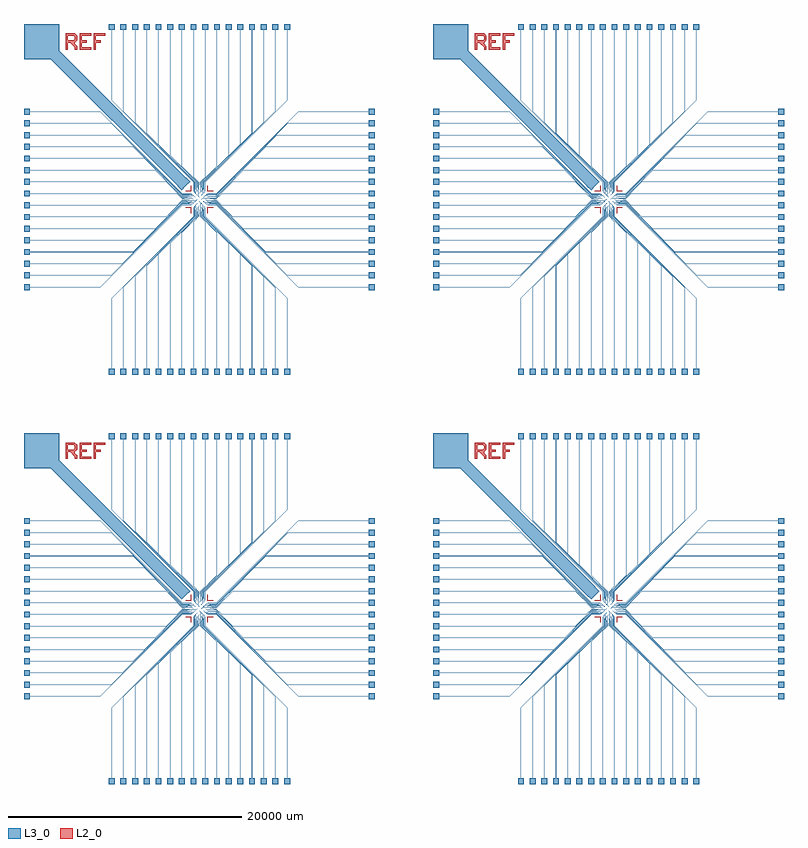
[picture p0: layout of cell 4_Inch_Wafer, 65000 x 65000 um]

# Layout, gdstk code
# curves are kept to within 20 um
from math import pi, radians
import gdstk
lib = gdstk.Library(unit=1e-6, precision=1e-09)
def P(c, l, *ps):  # polygons
    for p in ps: c.add(gdstk.Polygon(p, *l))
L2_0 = (2, 0)
L3_0 = (3, 0)

ref_marker = lib.new_cell('Ref_Marker')
P(ref_marker, L2_0, [(-95,-50),(-95,-40),(-5,-40),(-5,50),(5,50),(5,-50)])

c_64_electrode_device = lib.new_cell('64_Electrode_Device')
P(c_64_electrode_device, L2_0, [(-11450,12800),(-11450,14200),(-10650,14200),(-10450,14000),(-11250,14000),(-11250,13600),(-10750,13600),(-10650,13700),(-10650,13900),(-10750,14000),(-10450,14000),(-10450,13600),(-10650,13400),(-10650,13300),(-10450,13100),(-10450,12800),(-10650,12800),(-10650,13000),(-11050,13400),(-11250,13400),(-11250,12800)],
  [(-10250,12800),(-10250,14200),(-9250,14200),(-9250,14000),(-10050,14000),(-10050,13600),(-9650,13600),(-9650,13400),(-10050,13400),(-10050,13000),(-9250,13000),(-9250,12800)],
  [(-9050,12800),(-9050,14200),(-8050,14200),(-8050,14000),(-8850,14000),(-8850,13600),(-8450,13600),(-8450,13400),(-8850,13400),(-8850,12800)])
P(c_64_electrode_device, L3_0, [(-750,-15000),(-750,-14500),(-503,-14500),(-503,-1905),(-48,-1448.758),(-48,-1282),(0.243,-1232.218),(4.48,-1235.048),(3.672,-1240.495),(-42,-1283.242),(-42.879,-1452.121),(-497,-1906.242),(-497,-14500),(-250,-14500),(-250,-15000)],
  [(-2750,-15000),(-2750,-14500),(-2503,-14500),(-2503,-3770),(-180,-1445.758),(-181.727,-1060.147),(-176.05,-1055.488),(-171.827,-1060.147),(-174,-1451),(-2497,-3771.242),(-2497,-14500),(-2250,-14500),(-2250,-15000)],
  [(2250,-15000),(2250,-14500),(2497,-14500),(2497,-3772.242),(174,-1451),(171.826,-1060.147),(176.049,-1055.488),(181.726,-1060.147),(180,-1446.758),(2503,-3771),(2503,-14500),(2750,-14500),(2750,-15000)],
  [(-5750,-15000),(-5750,-14500),(-5503,-14500),(-5503,-6594),(-357,-1446.758),(-358.504,-883.37),(-351.885,-878.947),(-348.604,-883.37),(-351,-887.859),(-351,-1451),(-5497,-6595.242),(-5497,-14500),(-5250,-14500),(-5250,-15000)],
  [(250,-15000),(250,-14500),(497,-14500),(497,-1907.242),(42.879,-1453.121),(42,-930.242),(-3.981,-886.565),(-4.48,-881.494),(-0.243,-878.663),(48,-926),(48,-1449.758),(503,-1903),(503,-14500),(750,-14500),(750,-15000)],
  [(5250,-15000),(5250,-14500),(5497,-14500),(5497,-6596.242),(351,-1451),(351,-887.86),(348.603,-883.37),(351.884,-878.947),(358.503,-883.37),(357,-1447.758),(5503,-6593),(5503,-14500),(5750,-14500),(5750,-15000)],
  [(-7750,-15000),(-7750,-14500),(-7503,-14500),(-7502,-8461),(-488,-1447.758),(-488,-753.242),(-534.31,-709.789),(-534.002,-703.509),(-528.211,-702.357),(-482,-752),(-483,-1452),(-7497,-8465.242),(-7497,-14500),(-7250,-14500),(-7250,-15000)],
  [(-3750,-15000),(-3750,-14500),(-3503,-14500),(-3503,-4709),(-243,-1447.758),(-243,-770),(-180.449,-703.509),(-175.573,-702.03),(-172.111,-705.168),(-173.105,-710.165),(-237,-771.242),(-238,-1452),(-3497,-4710.242),(-3497,-14500),(-3250,-14500),(-3250,-15000)],
  [(3250,-15000),(3250,-14500),(3497,-14500),(3497,-4711.242),(237.879,-1452.121),(237,-771.242),(173.104,-710.165),(172.11,-705.168),(175.572,-702.03),(180.448,-703.509),(243,-770),(243,-1448.758),(3503,-4710),(3503,-14500),(3750,-14500),(3750,-15000)],
  [(7250,-15000),(7250,-14500),(7497,-14500),(7497,-8466.242),(482.879,-1452.121),(482,-752),(528.211,-702.357),(534.002,-703.509),(534.31,-709.789),(488,-753.242),(488,-1448.758),(7502,-8462),(7503,-14500),(7750,-14500),(7750,-15000)],
  [(-6750,-15000),(-6750,-14500),(-6503,-14500),(-6502.121,-7531.879),(-418,-1447.758),(-418,-592),(-356.882,-526.388),(-351.435,-525.58),(-348.652,-529.333),(-349.882,-533.388),(-354.61,-534.897),(-412,-593.228),(-413,-1452),(-6497,-7535.242),(-6497,-14500),(-6250,-14500),(-6250,-15000)],
  [(-1750,-15000),(-1750,-14500),(-1503,-14500),(-1503,-2834),(-118,-1447.758),(-118,-645),(0.727,-525.158),(4.666,-528.39),(3.672,-533.388),(-112,-646.242),(-113,-1453),(-1497,-2835.242),(-1497,-14500),(-1250,-14500),(-1250,-15000)],
  [(6250,-15000),(6250,-14500),(6497,-14500),(6497,-7536.242),(412.879,-1452.121),(412,-593.228),(354.609,-534.896),(349.881,-533.388),(348.746,-528.856),(351.884,-525.394),(357.225,-526.732),(418,-592),(418,-1448.758),(6502,-7532),(6503,-14500),(6750,-14500),(6750,-15000)],
  [(-15000,-7750),(-15000,-7250),(-14500,-7250),(-14500,-7497),(-8466.242,-7497),(-1452.121,-482.879),(-752,-482),(-702.627,-527.941),(-704.155,-534.041),(-710.059,-534.041),(-753.242,-488),(-1448.758,-488),(-8462,-7502),(-14500,-7503),(-14500,-7750)],
  [(14500,-7750),(14500,-7503),(8461,-7502),(1447.758,-488),(753.242,-488),(710.059,-534.041),(704.155,-534.041),(702.627,-527.941),(752,-482),(1452,-483),(8465.242,-7497),(14500,-7497),(14500,-7250),(15000,-7250),(15000,-7750)],
  [(-15000,-5750),(-15000,-5250),(-14500,-5250),(-14500,-5497),(-6596.242,-5497),(-1451,-351),(-888.276,-351),(-883.641,-348.333),(-879.218,-351.614),(-883.641,-358.233),(-1447.758,-357),(-6595,-5503),(-14500,-5503),(-14500,-5750)],
  [(-15000,-6750),(-15000,-6250),(-14500,-6250),(-14500,-6497),(-7536.242,-6497),(-1452.121,-412.879),(-593.228,-412),(-535.053,-354.764),(-533.658,-349.611),(-529.603,-348.381),(-525.85,-351.164),(-526.658,-356.611),(-592,-418),(-1448.758,-418),(-7532,-6502),(-14500,-6503),(-14500,-6750)],
  [(-4750,-15000),(-4750,-14500),(-4503,-14500),(-4503,-5654),(-299,-1447.757),(-299,-472),(-181.612,-354.349),(-180.105,-349.611),(-175.108,-348.617),(-171.97,-352.079),(-173.105,-356.611),(-293,-473.249),(-293,-1453),(-4497,-5655.243),(-4497,-14500),(-4250,-14500),(-4250,-15000)],
  [(4250,-15000),(4250,-14500),(4497,-14500),(4497,-5656.243),(293,-1453),(293,-473.249),(173.104,-356.611),(172.11,-351.614),(175.572,-348.476),(180.448,-349.955),(181.611,-354.348),(299,-472),(299,-1448.757),(4503,-5652),(4503,-14500),(4750,-14500),(4750,-15000)],
  [(14500,-6750),(14500,-6503),(7531.879,-6502.121),(1447.758,-418),(592,-418),(526.658,-356.611),(525.85,-351.164),(529.603,-348.381),(533.658,-349.611),(535.053,-354.764),(593.228,-412),(1452,-413),(7535.242,-6497),(14500,-6497),(14500,-6250),(15000,-6250),(15000,-6750)],
  [(14500,-5750),(14500,-5503),(6594,-5503),(1446.758,-357),(883.64,-358.233),(879.217,-351.614),(883.64,-348.333),(888.275,-351),(1451,-351),(6595.242,-5497),(14500,-5497),(14500,-5250),(15000,-5250),(15000,-5750)],
  [(-15000,-2750),(-15000,-2250),(-14500,-2250),(-14500,-2497),(-3772.242,-2497),(-1451,-174),(-1060.081,-172.264),(-1055.755,-176.185),(-1060.081,-181.456),(-1446.758,-180),(-3771,-2503),(-14500,-2503),(-14500,-2750)],
  [(14500,-2750),(14500,-2503),(3770,-2503),(1445.758,-180),(1060.08,-181.456),(1055.754,-176.185),(1060.08,-172.264),(1451,-174),(3771.242,-2497),(14500,-2497),(14500,-2250),(15000,-2250),(15000,-2750)],
  [(-15000,-3750),(-15000,-3250),(-14500,-3250),(-14500,-3497),(-4711.242,-3497),(-1452.121,-237.879),(-771.242,-237),(-711.92,-177.678),(-710.435,-172.835),(-705.438,-171.841),(-702.3,-175.303),(-703.779,-180.179),(-770,-243),(-1448.758,-243),(-4710,-3503),(-14500,-3503),(-14500,-3750)],
  [(-15000,-4750),(-15000,-4250),(-14500,-4250),(-14500,-4497),(-5656.243,-4497),(-1453,-293),(-473.249,-293),(-356.882,-172.835),(-352.35,-171.7),(-348.888,-174.838),(-349.882,-179.835),(-472,-299),(-1448.757,-299),(-5655,-4503),(-14500,-4503),(-14500,-4750)],
  [(1250,-15000),(1250,-14500),(1497,-14500),(1497,-2836.242),(112.879,-1452.121),(112,-293.242),(-3.672,-179.835),(-4.48,-174.388),(-0.243,-171.557),(118,-289),(118,-1448.758),(1503,-2835),(1503,-14500),(1750,-14500),(1750,-15000)],
  [(14500,-4750),(14500,-4503),(5654,-4503),(1447.757,-299),(472,-299),(349.881,-179.835),(348.887,-174.838),(352.349,-171.7),(356.881,-172.835),(473.249,-293),(1453,-293),(5655.243,-4497),(14500,-4497),(14500,-4250),(15000,-4250),(15000,-4750)],
  [(14500,-3750),(14500,-3503),(4709,-3503),(1447.758,-243),(770,-243),(703.779,-180.179),(702.3,-175.303),(705.438,-171.841),(710.435,-172.835),(711.92,-177.678),(771.242,-237),(1452,-238),(4710.242,-3497),(14500,-3497),(14500,-3250),(15000,-3250),(15000,-3750)],
  [(-15000,-750),(-15000,-250),(-14500,-250),(-14500,-497),(-1907.242,-497),(-1453.121,-42.879),(-930.242,-42),(-886.62,3.326),(-881.98,4.249),(-878.934,0.142),(-929,-48),(-1449.758,-48),(-1906,-503),(-14500,-503),(-14500,-750)],
  [(14500,-750),(14500,-503),(1905,-503),(1448.758,-48),(1282,-48),(1232.487,0.142),(1235.115,4.076),(1240.174,3.326),(1283.242,-42),(1452.121,-42.879),(1906.242,-497),(14500,-497),(14500,-250),(15000,-250),(15000,-750)],
  [(-15000,-1750),(-15000,-1250),(-14500,-1250),(-14500,-1497),(-2836.242,-1497),(-1452.121,-112.879),(-293.242,-112),(-180.105,3.942),(-175.108,4.936),(-171.875,0.997),(-292,-118),(-1448.758,-118),(-2835,-1503),(-14500,-1503),(-14500,-1750)],
  [(14500,-1750),(14500,-1503),(2834,-1503),(1447.758,-118),(645,-118),(525.428,0.997),(528.66,4.936),(533.658,3.942),(535.143,-0.901),(646.242,-112),(1453,-113),(2835.242,-1497),(14500,-1497),(14500,-1250),(15000,-1250),(15000,-1750)],
  [(-1237.31,-4.68),(-1283.242,42),(-1452.121,42.879),(-1906.242,497),(-14500,497),(-14500,250),(-15000,250),(-15000,750),(-14500,750),(-14500,503),(-1903,503),(-1448.758,48),(-1280,48),(-1233.388,2.657),(-1232.924,-2.052)],
  [(883.304,-4.68),(879.37,-2.051),(879.834,2.657),(926,48),(1449.758,48),(1903,503),(14500,503),(14500,750),(15000,750),(15000,250),(14500,250),(14500,497),(1907.242,497),(1453.121,42.879),(930.242,42)],
  [(-530.573,-4.68),(-646.242,112),(-1453,113),(-2835.242,1497),(-14500,1497),(-14500,1250),(-15000,1250),(-15000,1750),(-14500,1750),(-14500,1503),(-2834,1503),(-1447.758,118),(-643,118),(-526.658,3.598),(-525.85,-1.849)],
  [(176.533,-4.68),(172.296,-1.849),(173.104,3.598),(177.859,5.101),(289,118),(1448.758,118),(2835,1503),(14500,1503),(14500,1750),(15000,1750),(15000,1250),(14500,1250),(14500,1497),(2836.242,1497),(1452.121,112.879),(293.242,112)],
  [(-1060.533,172.097),(-1451,174),(-3771.242,2497),(-14500,2497),(-14500,2250),(-15000,2250),(-15000,2750),(-14500,2750),(-14500,2503),(-3770,2503),(-1445.758,180),(-1060.081,181.289),(-1055.711,176.467)],
  [(1060.08,172.097),(1055.71,176.467),(1060.08,181.289),(1446.758,180),(3771,2503),(14500,2503),(14500,2750),(15000,2750),(15000,2250),(14500,2250),(14500,2497),(3772.242,2497),(1451,174)],
  [(-706.979,172.097),(-771.242,237),(-1452,238),(-4710.242,3497),(-14500,3497),(-14500,3250),(-15000,3250),(-15000,3750),(-14500,3750),(-14500,3503),(-4709,3503),(-1447.758,243),(-770,243),(-703.343,179.783),(-702.593,174.726)],
  [(706.527,172.097),(702.42,175.143),(703.343,179.783),(770,243),(1448.758,243),(4710,3503),(14500,3503),(14500,3750),(15000,3750),(15000,3250),(14500,3250),(14500,3497),(4711.242,3497),(1452.121,237.879),(771.242,237)],
  [(-353.797,172.097),(-473.249,293),(-1453,293),(-5655.243,4497),(-14500,4497),(-14500,4250),(-15000,4250),(-15000,4750),(-14500,4750),(-14500,4503),(-5651,4503),(-1447.757,299),(-472,299),(-354.617,181.882),(-349.882,180.375),(-349.074,174.928)],
  [(353.31,172.097),(349.073,174.928),(349.881,180.375),(354.617,181.882),(472,299),(1448.757,299),(5652,4503),(14500,4503),(14500,4750),(15000,4750),(15000,4250),(14500,4250),(14500,4497),(5656.243,4497),(1453,293),(473.249,293)],
  [(-883.756,348.874),(-887.407,351),(-1451,351),(-6595.242,5497),(-14500,5497),(-14500,5250),(-15000,5250),(-15000,5750),(-14500,5750),(-14500,5503),(-6592,5503),(-1446.758,357),(-883.304,358.066),(-878.934,353.244)],
  [(883.304,348.874),(878.934,353.244),(883.304,358.066),(1447.758,357),(6593,5503),(14500,5503),(14500,5750),(15000,5750),(15000,5250),(14500,5250),(14500,5497),(6596.242,5497),(1451,351),(887.407,351)],
  [(-530.203,348.874),(-593.228,412),(-1452,413),(-7535.242,6497),(-14500,6497),(-14500,6250),(-15000,6250),(-15000,6750),(-14500,6750),(-14500,6503),(-7531.879,6502.121),(-1447.758,418),(-592,418),(-526.567,356.56),(-525.817,351.503)],
  [(529.75,348.874),(525.643,351.92),(526.566,356.56),(592,418),(1448.758,418),(7532.879,6502.121),(14500,6503),(14500,6750),(15000,6750),(15000,6250),(14500,6250),(14500,6497),(7536.242,6497),(1452.121,412.879),(593.228,412)],
  [(-1450,482),(-8465.242,7497),(-14500,7497),(-14500,7250),(-15000,7250),(-15000,7750),(-14500,7750),(-14500,7503),(-8461,7502),(-1447.758,488),(-753.242,488),(-709.843,533.657),(-703.343,533.337),(-703.343,527.157),(-752,482)],
  [(752,482),(703.343,527.157),(702.42,531.797),(706.527,534.843),(753.242,488),(1448.758,488),(8462,7502),(14500,7503),(14500,7750),(15000,7750),(15000,7250),(14500,7250),(14500,7497),(8466.242,7497),(1452.121,482.879)],
  [(-1499.773,792.23),(-12707.106,12000),(-15000,12000),(-15000,15000),(-12000,15000),(-12000,12707.106),(-792.667,1499.337)],
  [(-530.203,702.427),(-534.137,705.055),(-533.387,710.114),(-488,753.242),(-488,1448.758),(-7502,8462),(-7503,14500),(-7750,14500),(-7750,15000),(-7250,15000),(-7250,14500),(-7497,14500),(-7497,8466.242),(-482.879,1452.121),(-482,752)],
  [(-353.426,525.651),(-418,592),(-418,1448.758),(-6502.121,7532.879),(-6503,14500),(-6750,14500),(-6750,15000),(-6250,15000),(-6250,14500),(-6497,14500),(-6497,7536.242),(-412.879,1452.121),(-412,593.228),(-354.402,534.686),(-349.79,533.337),(-349.04,528.28)],
  [(-353.426,879.204),(-357.796,883.574),(-357,1447.758),(-5503,6595),(-5503,14500),(-5750,14500),(-5750,15000),(-5250,15000),(-5250,14500),(-5497,14500),(-5497,6596.242),(-351,1451),(-351,887.836),(-348.604,883.574)],
  [(-177.02,348.873),(-299,472),(-299,1448.757),(-4503,5655),(-4503,14500),(-4750,14500),(-4750,15000),(-4250,15000),(-4250,14500),(-4497,14500),(-4497,5656.243),(-293,1453),(-293,473.249),(-173.105,357.151),(-172.297,351.704)],
  [(-176.649,702.427),(-243,770),(-243,1448.758),(-3503,4710),(-3503,14500),(-3750,14500),(-3750,15000),(-3250,15000),(-3250,14500),(-3497,14500),(-3497,4711.242),(-237.879,1452.121),(-237,771.242),(-173.013,710.113),(-172.263,705.056)],
  [(-176.985,1055.98),(-181.02,1060.015),(-180,1446.758),(-2503,3771),(-2503,14500),(-2750,14500),(-2750,15000),(-2250,15000),(-2250,14500),(-2497,14500),(-2497,3772.242),(-174,1451),(-172.534,1060.015)],
  [(-0.243,172.097),(-118,292),(-118,1448.758),(-1503,2835),(-1503,14500),(-1750,14500),(-1750,15000),(-1250,15000),(-1250,14500),(-1497,14500),(-1497,2836.242),(-112.879,1452.121),(-112,293.242),(3.672,180.375),(4.48,174.928)],
  [(-0.208,879.204),(-48,929),(-48,1449.758),(-503,1906),(-503,14500),(-750,14500),(-750,15000),(-250,15000),(-250,14500),(-497,14500),(-497,1907.242),(-42.879,1453.121),(-42,930.242),(3.412,885.976),(3.84,881.63)],
  [(-0.208,1232.757),(-4,1235.569),(-3.148,1239.853),(42,1283.242),(42.879,1452.121),(497,1906.242),(497,14500),(250,14500),(250,15000),(750,15000),(750,14500),(503,14500),(503,1903),(48,1448.758),(48,1280)],
  [(-0.243,525.651),(-4.48,528.481),(-3.672,533.928),(1.171,535.413),(112,646.242),(113,1453),(1497,2835.242),(1497,14500),(1250,14500),(1250,15000),(1750,15000),(1750,14500),(1503,14500),(1503,2834),(118,1447.758),(118,643)],
  [(176.568,1055.98),(172.533,1060.015),(174,1451),(2497,3771.242),(2497,14500),(2250,14500),(2250,15000),(2750,15000),(2750,14500),(2503,14500),(2503,3770),(180,1445.758),(181.019,1060.015)],
  [(176.197,702.427),(172.09,705.473),(173.013,710.113),(237,771.242),(238,1452),(3497,4710.242),(3497,14500),(3250,14500),(3250,15000),(3750,15000),(3750,14500),(3503,14500),(3503,4709),(243,1447.758),(243,770)],
  [(176.533,348.873),(172.296,351.704),(173.104,357.151),(293,473.249),(293,1453),(4497,5655.243),(4497,14500),(4250,14500),(4250,15000),(4750,15000),(4750,14500),(4503,14500),(4503,5651),(299,1447.757),(299,472)],
  [(352.974,879.204),(348.604,883.574),(351,887.836),(351,1451),(5497,6595.242),(5497,14500),(5250,14500),(5250,15000),(5750,15000),(5750,14500),(5503,14500),(5503,6592),(357,1446.758),(357.796,883.574)],
  [(352.974,525.651),(348.867,528.697),(349.79,533.337),(354.402,534.686),(412,593.228),(413,1452),(6497,7535.242),(6497,14500),(6250,14500),(6250,15000),(6750,15000),(6750,14500),(6503,14500),(6502.121,7531.879),(418,1447.758),(418,592)],
  [(529.75,702.427),(482,752),(483,1452),(7497,8465.242),(7497,14500),(7250,14500),(7250,15000),(7750,15000),(7750,14500),(7503,14500),(7502,8461),(488,1447.758),(488,753.242),(533.386,710.114),(534.136,705.055)])
c_64_electrode_device.add(gdstk.Reference(ref_marker, (930,705), rotation=3*pi/2, magnification=5))
c_64_electrode_device.add(gdstk.Reference(ref_marker, (705,-930), rotation=pi, magnification=5))
c_64_electrode_device.add(gdstk.Reference(ref_marker, (-930,-705), rotation=pi/2, magnification=5))
c_64_electrode_device.add(gdstk.Reference(ref_marker, (-705,930), magnification=5))

c_4_inch_wafer = lib.new_cell('4_Inch_Wafer')
c_4_inch_wafer.add(gdstk.Reference(c_64_electrode_device, (-17500,-17500)))
c_4_inch_wafer.add(gdstk.Reference(c_64_electrode_device, (17500,-17500)))
c_4_inch_wafer.add(gdstk.Reference(c_64_electrode_device, (-17500,17500)))
c_4_inch_wafer.add(gdstk.Reference(c_64_electrode_device, (17500,17500)))

lib.write_gds('4_Inch_Wafer.gds')
